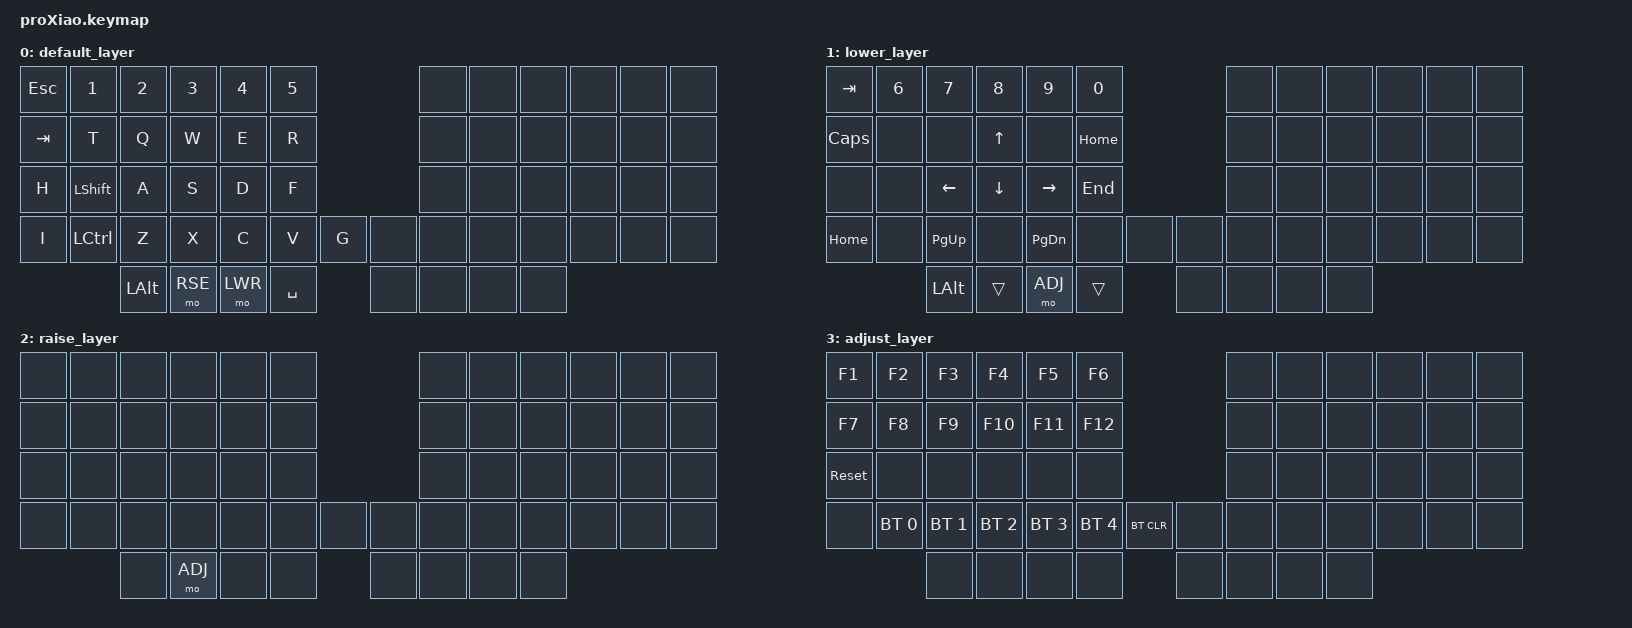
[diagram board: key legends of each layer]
/*
 * Copyright (c) 2020 The ZMK Contributors
 *
 * SPDX-License-Identifier: MIT
 */

#include <behaviors.dtsi>
#include <dt-bindings/zmk/keys.h>
#include <dt-bindings/zmk/bt.h>
#include <dt-bindings/zmk/ext_power.h>

#define DEF 0
#define LWR 1
#define RSE 2
#define ADJ 3

&lt { quick_tap_ms = <200>; };
&mt { quick_tap_ms = <200>; };

/ {
    combos {
        compatible = "zmk,combos";
        combo_F2 {
            timeout-ms = <50>;
            key-positions = <0 1>;
            bindings = <&kp F2>;
        };
        combo_ENTER {
            timeout-ms = <50>;
            key-positions = <15 16>;
            bindings = <&kp ENTER>;
        };
         combo_BS {
            timeout-ms = <50>;
            key-positions = <16 17>;
            bindings = <&kp BSPC>;
        };
        combo_Del {
            timeout-ms = <50>;
            key-positions = <40 41>;
            bindings = <&kp DEL>;
        };
    };
};

/ {
	keymap {
		compatible = "zmk,keymap";

		default_layer {
// ┌───────┬───────┬───────┬───────┬───────┬───────┐                      ┌───────┬───────┬───────┬───────┬───────┬───────┐
// |  ESC  |   1   |   2   |   3   |   4   |   5   |                      |       |       |       |       |       |       |
// ├───────┼───────┼───────┼───────┼───────┼───────┤                      ├───────┼───────┼───────┼───────┼───────┼───────┤
// |  TAB  |   T   |   Q   |   W   |   E   |   R   |                      |       |       |       |       |       |       |
// ├───────┼───────┼───────┼───────┼───────┼───────┤                      ├───────┼───────┼───────┼───────┼───────┼───────┤
// |   H   |  SHFT |   A   |   S   |   D   |   F   |                      |       |       |       |       |       |       |
// ├───────┼───────┼───────┼───────┼───────┼───────┼───────┐      ┌───────┼───────┼───────┼───────┼───────┼───────┼───────┤
// |   I   |  CTRL |   Z   |   X   |   C   |   V   |   G   |      |       |       |       |       |       |       |       |
// └───────┴───────┴───────┼───────┼───────┼───────┼───────┤      ├───────┼───────┼───────┼───────┼───────┴───────┴───────┘
//                         |  ALT  |  RSE  |  LWR  |  SPC  |      |       |       |       |       |
//                         └───────┴───────┴───────┴───────┘      └───────┴───────┴───────┴───────┘
			bindings = <
     &kp ESC  &kp N1     &kp N2  &kp N3  &kp N4  &kp N5                     &none   &none   &none   &none   &none   &none
     &kp TAB  &kp T      &kp Q   &kp W   &kp E   &kp R                      &none   &none   &none   &none   &none   &none
     &kp H    &kp LSHFT  &kp A   &kp S   &kp D   &kp F                      &none   &none   &none   &none   &none   &none
     &kp I    &kp LCTRL  &kp Z   &kp X   &kp C   &kp V  &kp G       &none   &none   &none   &none   &none   &none   &none
                       &kp LALT  &mo RSE &mo LWR    &kp SPACE       &none   &none   &none   &none
			>;
                };

                lower_layer {
// ┌───────┬───────┬───────┬───────┬───────┬───────┐                         ┌───────┬───────┬───────┬───────┬───────┬───────┐
// |  TAB  |   6   |   7   |   8   |   9   |   0   |                         |       |       |       |       |       |       |
// |-------+-------+-------+-------+-------+-------|                         |-------+-------+-------+-------+-------+-------|
// |  CAPS |       |       |   UP  |       |  HOME |                         |       |       |       |       |       |       |
// |-------+-------+-------+-------+-------+-------|                         |-------+-------+-------+-------+-------+-------|
// |       |       |  LEFT |  DOWN | RIGHT |  END  |                         |       |       |       |       |       |       |
// ├───────┼───────┼───────┼───────┼───────┼───────┼───────┐         ┌───────┼───────┼───────┼───────┼───────┼───────┼───────┤
// |  HOME |       |  PGDN |       |  PGUP |       |       |         |       |       |       |       |       |       |       |
// └───────┴───────┴───────┼───────┼───────┼───────┼───────┤         ├───────┼───────┼───────┼───────┼───────┴───────┴───────┘
//                         |  ALT  |       |  ADJ  |       |         |       |       |       |       |
//                         └───────┴───────┴───────┴───────┘         └───────┴───────┴───────┴───────┘
                        bindings = <
     &kp TAB  &kp N6  &kp N7     &kp N8    &kp N9     &kp N0                   &none   &none   &none   &none   &none   &none
     &kp CAPS &none   &none      &kp UP    &none      &kp HOME                 &none   &none   &none   &none   &none   &none
     &none    &none   &kp LEFT   &kp DOWN  &kp RIGHT  &kp END                  &none   &none   &none   &none   &none   &none
     &kp HOME    &none   &kp PG_UP  &none     &kp PG_DN  &none  &none     &none   &none   &none   &none   &none   &none   &none
                                 &kp LALT  &trans  &mo ADJ   &trans    &none   &none   &none   &none
                        >;
                };

                raise_layer {
// ┌───────┬───────┬───────┬───────┬───────┬───────┐                    ┌───────┬───────┬───────┬───────┬───────┬───────┐
// |       |       |       |       |       |       |                    |       |       |       |       |       |       |
// ├───────┼───────┼───────┼───────┼───────┼───────┤                    ├───────┼───────┼───────┼───────┼───────┼───────┤
// |       |       |       |       |       |       |                    |       |       |       |       |       |       |
// ├───────┼───────┼───────┼───────┼───────┼───────┤                    ├───────┼───────┼───────┼───────┼───────┼───────┤
// |       |       |       |       |       |       |                    |       |       |       |       |       |       |
// ├───────┼───────┼───────┼───────┼───────┼───────┼───────┐    ┌───────┼───────┼───────┼───────┼───────┼───────┼───────┤
// |       |       |       |       |       |       |       |    |       |       |       |       |       |       |       |
// └───────┴───────┴───────┼───────┼───────┼───────┼───────┤    ├───────┼───────┼───────┼───────┼───────┴───────┴───────┘
//                         |       |  ADJ  |       |       |    |       |       |       |       |
//                         └───────┴───────┴───────┴───────┘    └───────┴───────┴───────┴───────┘
                        bindings = <
     &none   &none   &none   &none   &none   &none                        &none   &none   &none   &none   &none   &none
     &none   &none   &none   &none   &none   &none                        &none   &none   &none   &none   &none   &none
     &none   &none   &none   &none   &none   &none                        &none   &none   &none   &none   &none   &none
     &none   &none   &none   &none   &none   &none   &none        &none   &none   &none   &none   &none   &none   &none
                             &none   &mo ADJ  &none  &none        &none   &none   &none   &none
                        >;
                };

                adjust_layer {
// ┌───────┬───────┬───────┬───────┬───────┬───────┐                    ┌───────┬───────┬───────┬───────┬───────┬───────┐
// |  F1   |  F2   |  F3   |  F4   |  F5   |  F6   |                    |       |       |       |       |       |       |
// ├───────┼───────┼───────┼───────┼───────┼───────┤                    ├───────┼───────┼───────┼───────┼───────┼───────┤
// |  F7   |  F8   |  F9   |  F10  |  F11  |  F12  |                    |       |       |       |       |       |       |
// ├───────┼───────┼───────┼───────┼───────┼───────┤                    ├───────┼───────┼───────┼───────┼───────┼───────┤
// | reset |       |       |       |       |       |                    |       |       |       |       |       |       |
// ├───────┼───────┼───────┼───────┼───────┼───────┼───────┐    ┌───────┼───────┼───────┼───────┼───────┼───────┼───────┤
// |       |  BT0  |  BT1  |  BT2  |  BT3  |  BT4  | BTCLR |    |       |       |       |       |       |       |       |
// └───────┴───────┴───────┼───────┼───────┼───────┼───────┤    ├───────┼───────┼───────┼───────┼───────┴───────┴───────┘
//                         |       |       |       |       |    |       |       |       |       |
//                         └───────┴───────┴───────┴───────┘    └───────┴───────┴───────┴───────┘
                        bindings = <
     &kp F1  &kp F2  &kp F3  &kp F4   &kp F5   &kp F6                                                       &none   &none   &none   &none   &none   &none
     &kp F7  &kp F8  &kp F9  &kp F10  &kp F11  &kp F12                                                      &none   &none   &none   &none   &none   &none
     &sys_reset  &none   &none   &none    &none    &none                                                        &none   &none   &none   &none   &none   &none
     &none   &bt BT_SEL 0  &bt BT_SEL 1  &bt BT_SEL 2  &bt BT_SEL 3  &bt BT_SEL 4  &bt BT_CLR       &none   &none   &none   &none   &none   &none   &none
                               &none   &none   &none   &none                                        &none   &none   &none   &none
                        >;
                };
            };
};
